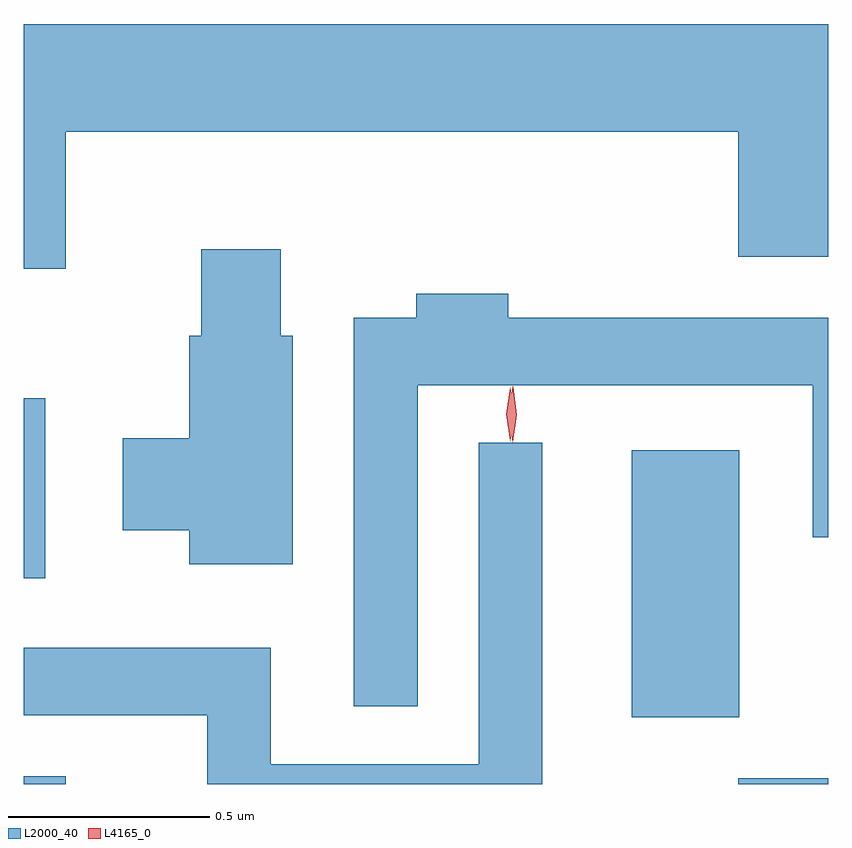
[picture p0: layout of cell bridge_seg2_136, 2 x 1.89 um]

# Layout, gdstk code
import gdstk
lib = gdstk.Library(unit=1e-6, precision=1e-09)
def R(c, l, rs):  # rectangles x0, y0, x1, y1
    for r in rs: c.add(gdstk.rectangle(r[:2], r[2:], *l))
def P(c, l, *ps):  # polygons
    for p in ps: c.add(gdstk.Polygon(p, *l))
L2000_40 = (2000, 40)
L4165_0 = (4165, 0)

bridge_seg2_136 = lib.new_cell('bridge_seg2_136')
R(bridge_seg2_136, L2000_40, [(1021.825,1102.195,1021.929,1102.214), (1023.601,1102.195,1023.825,1102.209), (1023.336,1102.361,1023.604,1103.024), (1021.825,1102.706,1021.879,1103.154)])
P(bridge_seg2_136, L2000_40, [(1021.929,1103.816),(1023.601,1103.816),(1023.601,1103.506),(1023.825,1103.506),(1023.825,1104.084),(1021.825,1104.084),(1021.825,1103.476),(1021.929,1103.476)],
  [(1022.494,1103.309),(1022.464,1103.309),(1022.464,1103.524),(1022.266,1103.524),(1022.266,1103.309),(1022.236,1103.309),(1022.236,1103.054),(1022.071,1103.054),(1022.071,1102.826),(1022.236,1102.826),(1022.236,1102.741),(1022.494,1102.741)],
  [(1022.804,1103.186),(1023.786,1103.186),(1023.786,1102.808),(1023.825,1102.808),(1023.825,1103.354),(1023.029,1103.354),(1023.029,1103.414),(1022.801,1103.414),(1022.801,1103.354),(1022.646,1103.354),(1022.646,1102.388),(1022.804,1102.388)],
  [(1023.114,1103.043),(1022.956,1103.043),(1022.956,1102.244),(1022.439,1102.244),(1022.439,1102.534),(1021.825,1102.534),(1021.825,1102.366),(1022.281,1102.366),(1022.281,1102.195),(1023.114,1102.195)])
P(bridge_seg2_136, L4165_0, [(1023.041,1103.043),(1023.04,1103.044),(1023.031,1103.113),(1023.041,1103.182),(1023.041,1103.183),(1023.042,1103.182),(1023.051,1103.113),(1023.041,1103.044)],
  [(1023.035,1103.047),(1023.034,1103.048),(1023.024,1103.114),(1023.034,1103.18),(1023.034,1103.18),(1023.035,1103.18),(1023.044,1103.114),(1023.035,1103.048)])

lib.write_gds('bridge_seg2_136.gds')
